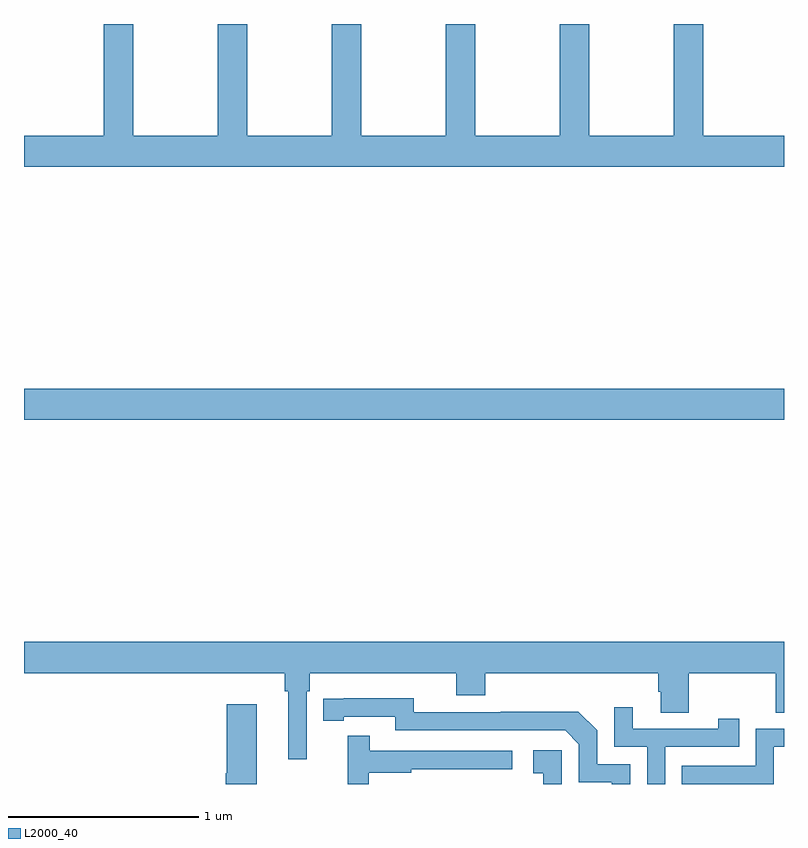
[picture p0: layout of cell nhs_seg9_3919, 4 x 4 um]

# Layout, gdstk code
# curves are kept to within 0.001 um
import gdstk
lib = gdstk.Library(unit=1e-6, precision=1e-09)
def R(c, l, rs):  # rectangles x0, y0, x1, y1
    for r in rs: c.add(gdstk.rectangle(r[:2], r[2:], *l))
def P(c, l, *ps):  # polygons
    for p in ps: c.add(gdstk.Polygon(p, *l))
L2000_40 = (2000, 40)

nhs_seg9_3919 = lib.new_cell('nhs_seg9_3919')
R(nhs_seg9_3919, L2000_40, [(335,1200.416,339,1200.58)])
P(nhs_seg9_3919, L2000_40, [(335.419,1201.912),(335,1201.912),(335,1201.748),(339,1201.748),(339,1201.912),(338.574,1201.912),(338.574,1202.5),(338.419,1202.5),(338.419,1201.912),(337.974,1201.912),(337.974,1202.5),(337.819,1202.5),(337.819,1201.912),(337.374,1201.912),(337.374,1202.5),(337.219,1202.5),(337.219,1201.912),(336.774,1201.912),(336.774,1202.5),(336.619,1202.5),(336.619,1201.912),(336.174,1201.912),(336.174,1202.5),(336.019,1202.5),(336.019,1201.912),(335.574,1201.912),(335.574,1202.5),(335.419,1202.5)],
  [(336.489,1198.988),(336.503,1198.988),(336.503,1199.084),(337.274,1199.084),(337.274,1198.967),(337.427,1198.967),(337.427,1199.084),(338.339,1199.084),(338.339,1198.986),(338.351,1198.986),(338.351,1198.876),(338.499,1198.876),(338.499,1199.084),(338.956,1199.084),(338.956,1198.876),(339,1198.876),(339,1199.248),(335,1199.248),(335,1199.084),(336.373,1199.084),(336.373,1198.988),(336.392,1198.988),(336.392,1198.629),(336.489,1198.629)],
  [(338.19,1198.605),(338.016,1198.605),(338.016,1198.782),(337.918,1198.88),(337.51,1198.88),(337.51,1198.878),(337.05,1198.878),(337.05,1198.951),(336.574,1198.95),(336.574,1198.834),(336.682,1198.834),(336.682,1198.854),(336.954,1198.854),(336.954,1198.782),(337.848,1198.782),(337.92,1198.71),(337.92,1198.509),(338.093,1198.509),(338.093,1198.5),(338.19,1198.5)],
  [(336.226,1198.921),(336.068,1198.921),(336.068,1198.557),(336.062,1198.557),(336.062,1198.5),(336.226,1198.5)],
  [(338.376,1198.695),(338.765,1198.695),(338.765,1198.843),(338.654,1198.843),(338.654,1198.791),(338.203,1198.791),(338.203,1198.903),(338.106,1198.903),(338.106,1198.695),(338.28,1198.695),(338.28,1198.5),(338.376,1198.5)],
  [(338.946,1198.695),(339,1198.695),(339,1198.791),(338.85,1198.791),(338.85,1198.596),(338.461,1198.596),(338.461,1198.5),(338.946,1198.5)],
  [(336.814,1198.558),(337.037,1198.558),(337.037,1198.578),(337.57,1198.578),(337.57,1198.674),(336.821,1198.674),(336.821,1198.753),(336.704,1198.753),(336.704,1198.5),(336.814,1198.5)],
  [(337.83,1198.678),(337.68,1198.678),(337.68,1198.557),(337.733,1198.557),(337.733,1198.5),(337.83,1198.5)])

lib.write_gds('nhs_seg9_3919.gds')
